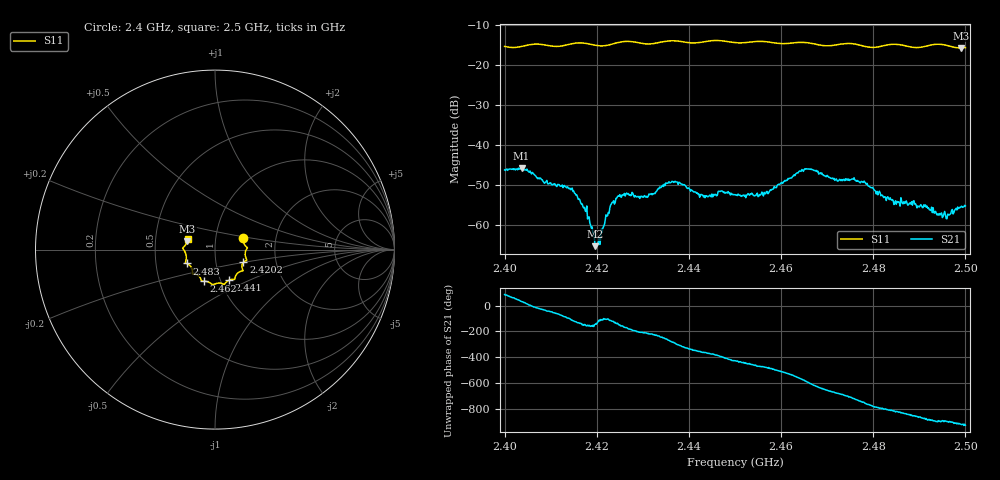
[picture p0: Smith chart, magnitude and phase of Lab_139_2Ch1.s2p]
# Hz S RI R 50
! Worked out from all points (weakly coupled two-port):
!   601 points, 2.4 GHz to 2.5 GHz, reference 50 ohm
!   highest |S21| = -45.74 dB at 2.4037 GHz (marker M1); lowest = -65.2 dB at 2.4197 GHz (marker M2)
!   lowest |S11| = -15.8 dB at 2.499 GHz (marker M3), VSWR 1.39, Z = 36.5 + j3.47 ohm
!   |S11| at or under -10 dB: start of sweep to end of sweep
!   S12 and S22 are empty: the file has one direction only
!   S11 on the Smith chart (normalised r, x): 2.4 GHz: 1.36, +0.18; 2.4202 GHz: 1.36, -0.20; 2.441 GHz: 1.10, -0.39; 2.462 GHz: 0.84, -0.30; 2.483 GHz: 0.72, -0.11; 2.5 GHz: 0.73, +0.09
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2.4e9  0.1573 0.063  0.000379 0.00489  0 0  0 0
2.403667e9  0.1675 0.0226  0.0044 0.0027  0 0  0 0
2.414167e9  0.1738 -0.0498  -0.00066 -0.00282  0 0  0 0
2.416667e9  0.1777 -0.0593  -0.00141 -0.00118  0 0  0 0
2.417833e9  0.1737 -0.061  -0.00161 -0.000664  0 0  0 0
2.419667e9  0.1616 -0.0677  -0.000452 -0.000312  0 0  0 0
2.420167e9  0.1582 -0.0708  -0.000356 -0.000429  0 0  0 0
2.423e9  0.1502 -0.0972  -0.000756 -0.00161  0 0  0 0
2.424667e9  0.1542 -0.1105  -0.00188 -0.00135  0 0  0 0
2.433333e9  0.1129 -0.1508  -0.00162 0.00235  0 0  0 0
2.436833e9  0.1094 -0.1662  0.00118 0.00325  0 0  0 0
2.441e9  0.0786 -0.1699  0.00254 0.000603  0 0  0 0
2.45e9  0.0286 -0.1868  0.000913 -0.00223  0 0  0 0
2.456667e9  -0.0171 -0.1934  -0.00122 -0.00216  0 0  0 0
2.462e9  -0.0603 -0.1757  -0.00386 -0.000341  0 0  0 0
2.466667e9  -0.077 -0.1679  -0.00167 0.00465  0 0  0 0
2.477833e9  -0.1258 -0.1166  0.003 -0.00166  0 0  0 0
2.483e9  -0.1587 -0.0774  0.000127 -0.00222  0 0  0 0
2.483333e9  -0.1605 -0.0767  -3.43e-05 -0.00216  0 0  0 0
2.4955e9  -0.1767 0.0127  -0.00148 -0.000154  0 0  0 0
2.499e9  -0.1547 0.0464  -0.00158 0.000598  0 0  0 0
2.5e9  -0.1518 0.061  -0.00154 0.000817  0 0  0 0
